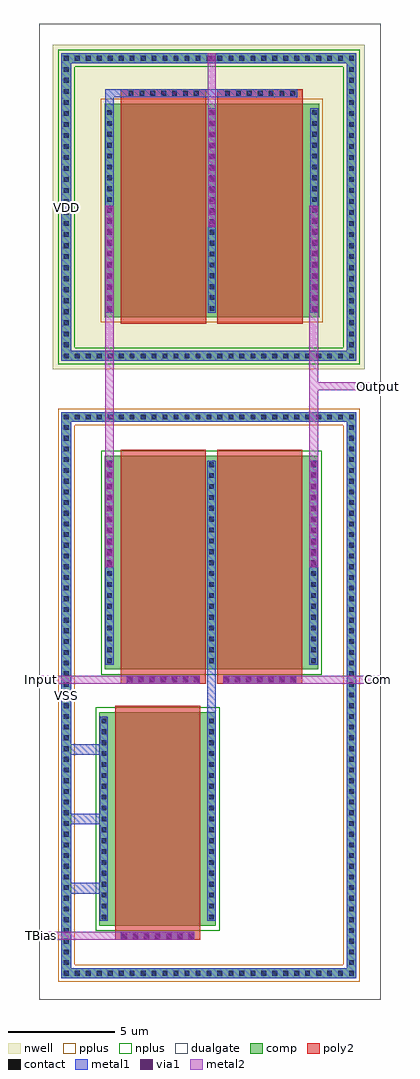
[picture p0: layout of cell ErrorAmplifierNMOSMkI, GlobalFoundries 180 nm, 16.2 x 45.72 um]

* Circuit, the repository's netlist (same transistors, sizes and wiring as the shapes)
* LVS reference for Layout/ErrorAmplifierNMOSMkI.gds, from
* Schematic/Error Amplifier/ErrorAmplifierNMOSMkI.sch (qucs-s -n --ngspice).
* Ports in symbol order; VSS is the schematic's global ground (node 0).
.subckt ErrorAmplifierNMOSMkI Input Com Output VDD TBias VSS
M1 VDD mirror mirror VDD pfet_06v0 L=4u W=10u
M2 VDD mirror Output VDD pfet_06v0 L=4u W=10u
M3 Output Com tail VSS nfet_06v0 L=4u W=10u
M4 tail TBias VSS VSS nfet_06v0 L=4u W=10u
M5 mirror Input tail VSS nfet_06v0 L=4u W=10u
.ends

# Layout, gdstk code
import gdstk
lib = gdstk.Library(unit=1e-6, precision=1e-09)
def R(c, l, rs):  # rectangles x0, y0, x1, y1
    for r in rs: c.add(gdstk.rectangle(r[:2], r[2:], *l))
def A(c, l, x, y, w, h, nx, ny, dx, dy):  # array of equal rectangles
    R(c, l, [(x+i*dx, y+j*dy, x+i*dx+w, y+j*dy+h) for i in range(nx) for j in range(ny)])
def P(c, l, *ps):  # polygons
    for p in ps: c.add(gdstk.Polygon(p, *l))
nwell = (21, 0)
comp = (22, 0)
poly2 = (30, 0)
pplus = (31, 0)
nplus = (32, 0)
contact = (33, 0)
metal1 = (34, 0)
via1 = (35, 0)
metal2 = (36, 0)
dualgate = (55, 0)

nfet = lib.new_cell('nfet')
R(nfet, comp, [(-0.42,0,5.04,10)])
R(nfet, poly2, [(0.31,-0.66,4.31,10.3)])
R(nfet, nplus, [(-0.59,-0.24,5.21,10.24)])
A(nfet, contact, 0.67, -0.59, 0.22, 0.22, 7, 1, 0.51, 0)
A(nfet, contact, -0.32, 0.3, 0.22, 0.22, 1, 19, 0, 0.51)
A(nfet, contact, 4.72, 0.3, 0.22, 0.22, 1, 19, 0, 0.51)
R(nfet, metal1, [(0.59,-0.67,4.03,-0.29), (-0.4,0.22,-0.02,9.78), (4.64,0.22,5.02,9.78)])
R(nfet, dualgate, [(-0.84,-1.08,5.46,10.71)])

nfet_1 = lib.new_cell('nfet$1')
R(nfet_1, comp, [(-0.42,0,9.56,10)])
R(nfet_1, poly2, [(0.31,-0.66,4.31,10.3), (4.83,-0.66,8.83,10.3)])
R(nfet_1, nplus, [(-0.59,-0.24,9.73,10.24)])
A(nfet_1, contact, 0.67, -0.59, 0.22, 0.22, 7, 1, 0.51, 0)
A(nfet_1, contact, 5.19, -0.59, 0.22, 0.22, 7, 1, 0.51, 0)
A(nfet_1, contact, -0.32, 0.3, 0.22, 0.22, 3, 19, 4.78, 0.51)
A(nfet_1, metal1, -0.4, 0.22, 0.38, 9.56, 3, 1, 4.78, 0)
R(nfet_1, metal1, [(0.59,-0.67,4.03,-0.29), (5.11,-0.67,8.55,-0.29)])
R(nfet_1, dualgate, [(-0.84,-1.08,9.98,10.71)])

pfet = lib.new_cell('pfet')
R(pfet, nwell, [(-1.24,-0.91,10.38,11.29)])
R(pfet, comp, [(-0.46,0,9.6,10)])
R(pfet, poly2, [(0.31,-0.3,4.31,10.68), (4.83,-0.3,8.83,10.68)])
R(pfet, pplus, [(-0.63,-0.24,9.77,10.24)])
A(pfet, contact, -0.34, 0.3, 0.22, 0.22, 3, 19, 4.8, 0.51)
A(pfet, contact, 0.67, 10.38, 0.22, 0.22, 7, 1, 0.51, 0)
A(pfet, contact, 5.19, 10.38, 0.22, 0.22, 7, 1, 0.51, 0)
A(pfet, metal1, -0.42, 0.22, 0.38, 9.56, 3, 1, 4.8, 0)
R(pfet, metal1, [(0.59,10.3,4.03,10.68), (5.11,10.3,8.55,10.68)])
R(pfet, dualgate, [(-1.74,-1.41,10.88,11.79)])

erroramplifiernmosmki = lib.new_cell('ErrorAmplifierNMOSMkI')
R(erroramplifiernmosmki, nwell, [(-2.86,26.06,11.76,41.26)])
P(erroramplifiernmosmki, comp, [(-2.46,-2.46),(-2.46,23.6),(-2,23.6),(-2,-2),(10.9,-2),(10.9,23.6),(-2.46,23.6),(-2.46,24.06),(11.36,24.06),(11.36,-2.46)],
  [(-2.46,26.46),(-2.46,40.4),(-2,40.4),(-2,26.92),(10.9,26.92),(10.9,40.4),(-2.46,40.4),(-2.46,40.86),(11.36,40.86),(11.36,26.46)])
P(erroramplifiernmosmki, pplus, [(-2.62,-2.62),(-2.62,23.44),(-1.84,23.44),(-1.84,-1.84),(10.74,-1.84),(10.74,23.44),(-2.62,23.44),(-2.62,24.22),(11.52,24.22),(11.52,-2.62)])
P(erroramplifiernmosmki, nplus, [(-2.62,26.3),(-2.62,40.24),(-1.84,40.24),(-1.84,27.08),(10.74,27.08),(10.74,40.24),(-2.62,40.24),(-2.62,41.02),(11.52,41.02),(11.52,26.3)])
A(erroramplifiernmosmki, contact, -2.34, -2.34, 0.22, 0.22, 1, 5, 0, 0.5)
A(erroramplifiernmosmki, contact, -0.28, -2.34, 0.22, 0.22, 3, 2, 0.51, 26.06)
A(erroramplifiernmosmki, contact, 1.26, -2.34, 0.22, 0.22, 3, 2, 0.51, 26.06)
A(erroramplifiernmosmki, contact, 3.83, -2.34, 0.22, 0.22, 3, 2, 0.51, 26.06)
A(erroramplifiernmosmki, contact, 6.4, -2.34, 0.22, 0.22, 3, 2, 0.51, 26.06)
A(erroramplifiernmosmki, contact, 7.94, -2.34, 0.22, 0.22, 3, 2, 0.51, 26.06)
A(erroramplifiernmosmki, contact, 11.02, -2.34, 0.22, 0.22, 1, 5, 0, 0.5)
A(erroramplifiernmosmki, contact, -2.34, 0.17, 0.22, 0.22, 1, 9, 0, 0.5)
A(erroramplifiernmosmki, contact, 11.02, 0.17, 0.22, 0.22, 1, 9, 0, 0.5)
A(erroramplifiernmosmki, contact, -2.34, 4.68, 0.22, 0.22, 1, 8, 0, 0.5)
A(erroramplifiernmosmki, contact, 11.02, 4.68, 0.22, 0.22, 1, 8, 0, 0.5)
A(erroramplifiernmosmki, contact, -2.34, 8.69, 0.22, 0.22, 1, 9, 0, 0.5)
A(erroramplifiernmosmki, contact, 11.02, 8.69, 0.22, 0.22, 1, 9, 0, 0.5)
A(erroramplifiernmosmki, contact, -2.34, 13.2, 0.22, 0.22, 1, 8, 0, 0.5)
A(erroramplifiernmosmki, contact, 11.02, 13.2, 0.22, 0.22, 1, 8, 0, 0.5)
A(erroramplifiernmosmki, contact, -2.34, 17.21, 0.22, 0.22, 1, 9, 0, 0.5)
A(erroramplifiernmosmki, contact, 11.02, 17.21, 0.22, 0.22, 1, 9, 0, 0.5)
A(erroramplifiernmosmki, contact, -2.34, 21.72, 0.22, 0.22, 1, 5, 0, 0.5)
A(erroramplifiernmosmki, contact, 11.02, 21.72, 0.22, 0.22, 1, 5, 0, 0.5)
A(erroramplifiernmosmki, contact, -0.28, 26.58, 0.22, 0.22, 3, 2, 0.51, 13.94)
A(erroramplifiernmosmki, contact, 1.26, 26.58, 0.22, 0.22, 3, 2, 0.51, 13.94)
A(erroramplifiernmosmki, contact, 3.83, 26.58, 0.22, 0.22, 3, 2, 0.51, 13.94)
A(erroramplifiernmosmki, contact, 6.4, 26.58, 0.22, 0.22, 3, 2, 0.51, 13.94)
A(erroramplifiernmosmki, contact, 7.94, 26.58, 0.22, 0.22, 3, 2, 0.51, 13.94)
A(erroramplifiernmosmki, contact, -2.34, 27.61, 0.22, 0.22, 1, 3, 0, 0.52)
A(erroramplifiernmosmki, contact, 11.02, 27.61, 0.22, 0.22, 1, 3, 0, 0.52)
A(erroramplifiernmosmki, contact, -2.34, 30.19, 0.22, 0.22, 1, 3, 0, 0.52)
A(erroramplifiernmosmki, contact, 11.02, 30.19, 0.22, 0.22, 1, 3, 0, 0.52)
A(erroramplifiernmosmki, contact, -2.34, 31.74, 0.22, 0.22, 1, 3, 0, 0.52)
A(erroramplifiernmosmki, contact, 11.02, 31.74, 0.22, 0.22, 1, 3, 0, 0.52)
A(erroramplifiernmosmki, contact, -2.34, 34.32, 0.22, 0.22, 1, 3, 0, 0.52)
A(erroramplifiernmosmki, contact, 11.02, 34.32, 0.22, 0.22, 1, 3, 0, 0.52)
A(erroramplifiernmosmki, contact, -2.34, 35.87, 0.22, 0.22, 1, 3, 0, 0.52)
A(erroramplifiernmosmki, contact, 11.02, 35.87, 0.22, 0.22, 1, 3, 0, 0.52)
A(erroramplifiernmosmki, contact, -2.34, 38.45, 0.22, 0.22, 1, 3, 0, 0.52)
A(erroramplifiernmosmki, contact, 11.02, 38.45, 0.22, 0.22, 1, 3, 0, 0.52)
R(erroramplifiernmosmki, contact, [(-1.83,-2.34,-1.61,-2.12), (-1.31,-2.34,-1.09,-2.12), (-0.8,-2.34,-0.58,-2.12), (2.8,-2.34,3.02,-2.12), (3.31,-2.34,3.53,-2.12), (5.37,-2.34,5.59,-2.12), (5.88,-2.34,6.1,-2.12), (9.48,-2.34,9.7,-2.12), (9.99,-2.34,10.21,-2.12), (10.51,-2.34,10.73,-2.12), (-1.83,23.72,-1.61,23.94), (-1.31,23.72,-1.09,23.94), (-0.8,23.72,-0.58,23.94), (2.8,23.72,3.02,23.94), (3.31,23.72,3.53,23.94), (5.37,23.72,5.59,23.94), (5.88,23.72,6.1,23.94), (9.48,23.72,9.7,23.94), (9.99,23.72,10.21,23.94), (10.51,23.72,10.73,23.94), (-2.34,26.58,-2.12,26.8), (-1.83,26.58,-1.61,26.8), (-1.31,26.58,-1.09,26.8), (-0.8,26.58,-0.58,26.8), (2.8,26.58,3.02,26.8), (3.31,26.58,3.53,26.8), (5.37,26.58,5.59,26.8), (5.88,26.58,6.1,26.8), (9.48,26.58,9.7,26.8), (9.99,26.58,10.21,26.8), (10.51,26.58,10.73,26.8), (11.02,26.58,11.24,26.8), (-2.34,27.1,-2.12,27.32), (11.02,27.1,11.24,27.32), (-2.34,29.16,-2.12,29.38), (11.02,29.16,11.24,29.38), (-2.34,29.68,-2.12,29.9), (11.02,29.68,11.24,29.9), (-2.34,33.29,-2.12,33.51), (11.02,33.29,11.24,33.51), (-2.34,33.81,-2.12,34.03), (11.02,33.81,11.24,34.03), (-2.34,37.42,-2.12,37.64), (11.02,37.42,11.24,37.64), (-2.34,37.94,-2.12,38.16), (11.02,37.94,11.24,38.16), (-2.34,40,-2.12,40.22), (11.02,40,11.24,40.22), (-2.34,40.52,-2.12,40.74), (-1.83,40.52,-1.61,40.74), (-1.31,40.52,-1.09,40.74), (-0.8,40.52,-0.58,40.74), (2.8,40.52,3.02,40.74), (3.31,40.52,3.53,40.74), (5.37,40.52,5.59,40.74), (5.88,40.52,6.1,40.74), (9.48,40.52,9.7,40.74), (9.99,40.52,10.21,40.74), (10.51,40.52,10.73,40.74), (11.02,40.52,11.24,40.74)])
A(erroramplifiernmosmki, metal1, -2.1, 1.5, 1.82, 0.5, 1, 3, 0, 3.25)
R(erroramplifiernmosmki, metal1, [(0.33,-0.67,3.77,-0.29), (4.38,8.78,4.76,13.22), (0.59,11.33,4.03,11.71), (5.11,11.33,8.55,11.71), (-0.4,16.78,-0.02,21.78), (9.16,16.78,9.54,21.78), (-0.4,28.72,-0.02,33.72), (9.2,28.72,9.58,33.72), (4.4,32.72,4.78,38.28), (-0.4,37.78,-0.02,39.18), (-0.4,38.8,8.59,39.18)])
P(erroramplifiernmosmki, metal1, [(-2.46,-2.46),(-2.46,23.6),(-2,23.6),(-2,-2),(10.9,-2),(10.9,23.6),(-2.46,23.6),(-2.46,24.06),(11.36,24.06),(11.36,-2.46)],
  [(-2.46,26.46),(-2.46,40.4),(-2,40.4),(-2,26.92),(10.9,26.92),(10.9,40.4),(-2.46,40.4),(-2.46,40.86),(11.36,40.86),(11.36,26.46)])
A(erroramplifiernmosmki, via1, 0.36, -0.61, 0.26, 0.26, 7, 1, 0.52, 0)
A(erroramplifiernmosmki, via1, 0.62, 11.39, 0.26, 0.26, 7, 1, 0.52, 0)
A(erroramplifiernmosmki, via1, 5.14, 11.39, 0.26, 0.26, 7, 1, 0.52, 0)
A(erroramplifiernmosmki, via1, -0.34, 16.81, 0.26, 0.26, 1, 10, 0, 0.52)
A(erroramplifiernmosmki, via1, 9.22, 16.81, 0.26, 0.26, 1, 10, 0, 0.52)
A(erroramplifiernmosmki, via1, -0.34, 28.75, 0.26, 0.26, 1, 10, 0, 0.52)
A(erroramplifiernmosmki, via1, 9.26, 28.75, 0.26, 0.26, 1, 10, 0, 0.52)
A(erroramplifiernmosmki, via1, 4.46, 32.77, 0.26, 0.26, 1, 11, 0, 0.52)
R(erroramplifiernmosmki, via1, [(4.46,40.5,4.72,40.76)])
R(erroramplifiernmosmki, metal2, [(-3.6,-0.67,3.77,-0.29), (0.33,-0.67,3.77,-0.29), (-3.6,11.33,4.03,11.71), (0.59,11.33,4.03,11.71), (5.11,11.33,8.55,11.71), (5.11,11.33,12.6,11.71), (-0.4,16.78,-0.02,21.78), (-0.4,16.78,-0.02,33.72), (9.16,16.78,9.54,21.78), (9.16,16.78,9.58,33.72), (9.16,25.07,12.6,25.45), (-0.4,28.72,-0.02,33.72), (9.2,28.72,9.58,33.72), (4.4,32.72,4.78,38.28), (4.4,32.72,4.78,40.86)])
R(erroramplifiernmosmki, dualgate, [(-3.5,-3.46,12.5,42.26)])
erroramplifiernmosmki.add(gdstk.Reference(nfet, (-0.26,0)))
erroramplifiernmosmki.add(gdstk.Reference(nfet_1, (0,12)))
erroramplifiernmosmki.add(gdstk.Reference(pfet, (0.02,28.5)))
erroramplifiernmosmki.add(gdstk.Label('VSS', (-2.23,10.8), layer=34, texttype=10))
erroramplifiernmosmki.add(gdstk.Label('VDD', (-2.23,33.66), layer=34, texttype=10))
erroramplifiernmosmki.add(gdstk.Label('Output', (12.4,25.26), layer=36, texttype=10))
erroramplifiernmosmki.add(gdstk.Label('Input', (-3.4,11.52), layer=36, texttype=10))
erroramplifiernmosmki.add(gdstk.Label('Com', (12.4,11.52), layer=36, texttype=10))
erroramplifiernmosmki.add(gdstk.Label('TBias', (-3.4,-0.48), layer=36, texttype=10))

lib.write_gds('ErrorAmplifierNMOSMkI.gds')
